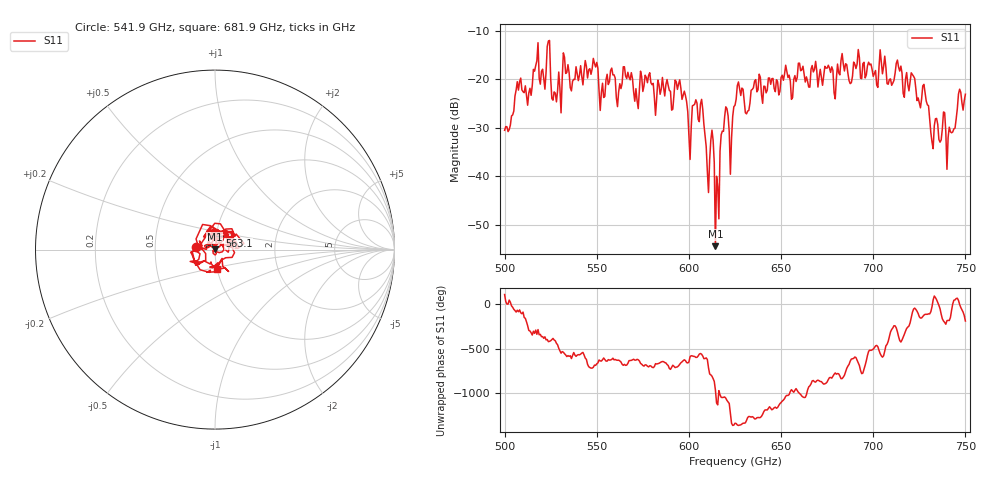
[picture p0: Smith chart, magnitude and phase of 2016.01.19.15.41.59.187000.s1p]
!Created with skrf (http://scikit-rf.org).
# GHz S RI R 50.0
!freq ReS11 ImS11
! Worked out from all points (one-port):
!   401 points, 500 GHz to 750 GHz, reference 50 ohm
!   lowest |S11| = -54.4 dB at 614.4 GHz (marker M1), VSWR 1.00, Z = 49.9 + j0.171 ohm
!   |S11| at or under -10 dB: start of sweep to end of sweep
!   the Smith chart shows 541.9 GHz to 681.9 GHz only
!   S11 on the Smith chart (normalised r, x): 541.9 GHz: 0.81, +0.02; 563.1 GHz: 1.04, +0.16; 681.9 GHz: 0.99, -0.22
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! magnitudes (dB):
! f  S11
! 500 GHz  -30.5
! 507.5 GHz  -22.2
! 513.8 GHz  -21.9
! 516.9 GHz  -17.2
! 520.6 GHz  -17.9
! 523.8 GHz  -12.1
! 526.9 GHz  -22.6
! 531.2 GHz  -19.9
! 541.9 GHz  -19.4
! 562.5 GHz  -20.9
! 563.1 GHz  -21.9
! 593.8 GHz  -22.1
! 600 GHz  -31.8
! 607.5 GHz  -26.1
! 610 GHz  -39.0
! 612.5 GHz  -30.5
! 614.4 GHz  -54.4
! 615.6 GHz  -42.1
! 619.4 GHz  -27.7
! 622.5 GHz  -39.6
! 625 GHz  -25.4
! 656.2 GHz  -23.8
! 681.9 GHz  -19.1
! 687.5 GHz  -20.9
! 705 GHz  -18.9
! 718.8 GHz  -21.1
! 740.6 GHz  -32.0
! 750 GHz  -23.1
